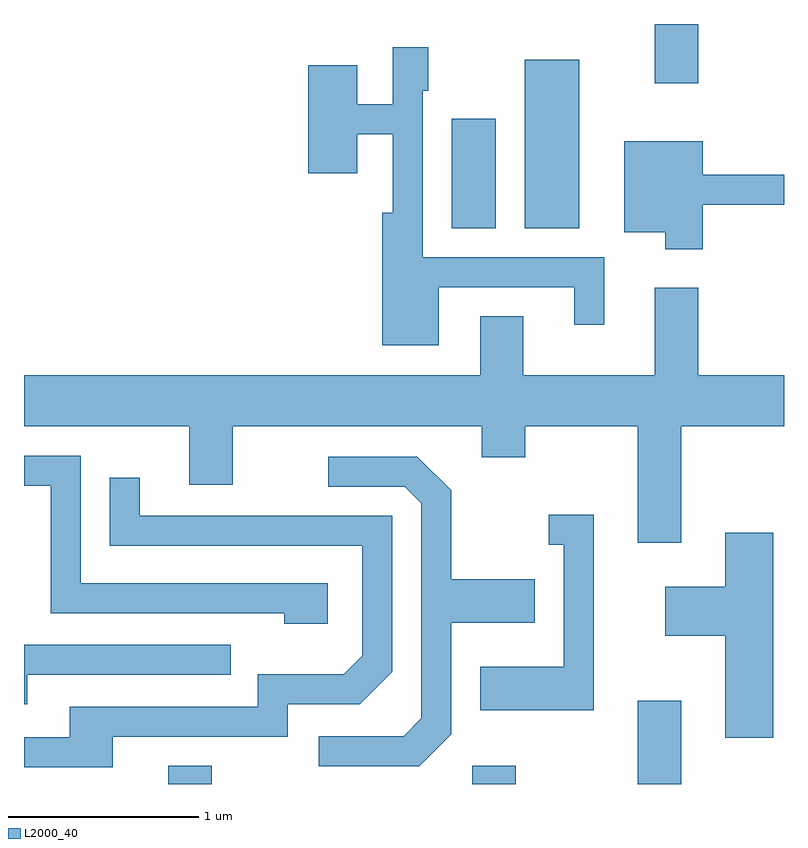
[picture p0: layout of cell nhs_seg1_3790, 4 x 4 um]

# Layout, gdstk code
import gdstk
lib = gdstk.Library(unit=1e-6, precision=1e-09)
def R(c, l, rs):  # rectangles x0, y0, x1, y1
    for r in rs: c.add(gdstk.rectangle(r[:2], r[2:], *l))
def P(c, l, *ps):  # polygons
    for p in ps: c.add(gdstk.Polygon(p, *l))
L2000_40 = (2000, 40)

nhs_seg1_3790 = lib.new_cell('nhs_seg1_3790')
R(nhs_seg1_3790, L2000_40, [(300.371,877.712,300.599,877.809), (301.971,877.712,302.199,877.809), (302.841,877.712,303.069,878.149), (301.861,880.636,302.094,881.214), (302.246,880.636,302.534,881.524), (302.931,881.401,303.159,881.712)])
P(nhs_seg1_3790, L2000_40, [(301.794,880.326),(302.506,880.326),(302.506,880.128),(302.664,880.128),(302.664,880.484),(301.709,880.484),(301.709,881.361),(301.739,881.361),(301.739,881.589),(301.551,881.589),(301.551,881.289),(301.364,881.289),(301.364,881.494),(301.106,881.494),(301.106,880.926),(301.364,880.926),(301.364,881.131),(301.551,881.131),(301.551,880.719),(301.496,880.719),(301.496,880.021),(301.794,880.021)],
  [(303.184,880.761),(303.611,880.761),(303.611,880.919),(303.184,880.919),(303.184,881.094),(302.771,881.094),(302.771,880.616),(302.986,880.616),(302.986,880.526),(303.184,880.526)],
  [(303.069,879.596),(303.611,879.596),(303.611,879.864),(303.159,879.864),(303.159,880.324),(302.931,880.324),(302.931,879.864),(302.239,879.864),(302.239,880.174),(302.011,880.174),(302.011,879.864),(299.611,879.864),(299.611,879.596),(300.481,879.596),(300.481,879.286),(300.709,879.286),(300.709,879.596),(302.021,879.596),(302.021,879.431),(302.249,879.431),(302.249,879.596),(302.841,879.596),(302.841,878.981),(303.069,878.981)],
  [(301.209,878.769),(299.909,878.769),(299.909,879.439),(299.611,879.439),(299.611,879.281),(299.751,879.281),(299.751,878.611),(300.981,878.611),(300.981,878.556),(301.209,878.556)],
  [(301.859,877.974),(301.859,878.561),(302.299,878.561),(302.299,878.789),(301.859,878.789),(301.859,879.257),(301.682,879.434),(301.213,879.434),(301.213,879.276),(301.614,879.276),(301.701,879.189),(301.701,878.057),(301.609,877.964),(301.163,877.964),(301.163,877.806),(301.692,877.806)],
  [(300.079,877.961),(300.999,877.961),(300.999,878.131),(301.377,878.131),(301.549,878.304),(301.549,879.124),(300.219,879.124),(300.219,879.323),(300.061,879.323),(300.061,878.966),(301.391,878.966),(301.391,878.387),(301.294,878.289),(300.841,878.289),(300.841,878.119),(299.851,878.119),(299.851,877.959),(299.611,877.959),(299.611,877.801),(300.079,877.801)],
  [(302.609,879.129),(302.373,879.129),(302.373,878.971),(302.451,878.971),(302.451,878.329),(302.011,878.329),(302.011,878.101),(302.609,878.101)],
  [(303.554,879.034),(303.301,879.034),(303.301,878.749),(302.986,878.749),(302.986,878.491),(303.301,878.491),(303.301,877.956),(303.554,877.956)],
  [(299.629,878.286),(300.698,878.286),(300.698,878.444),(299.611,878.444),(299.611,878.131),(299.629,878.131)])

lib.write_gds('nhs_seg1_3790.gds')
